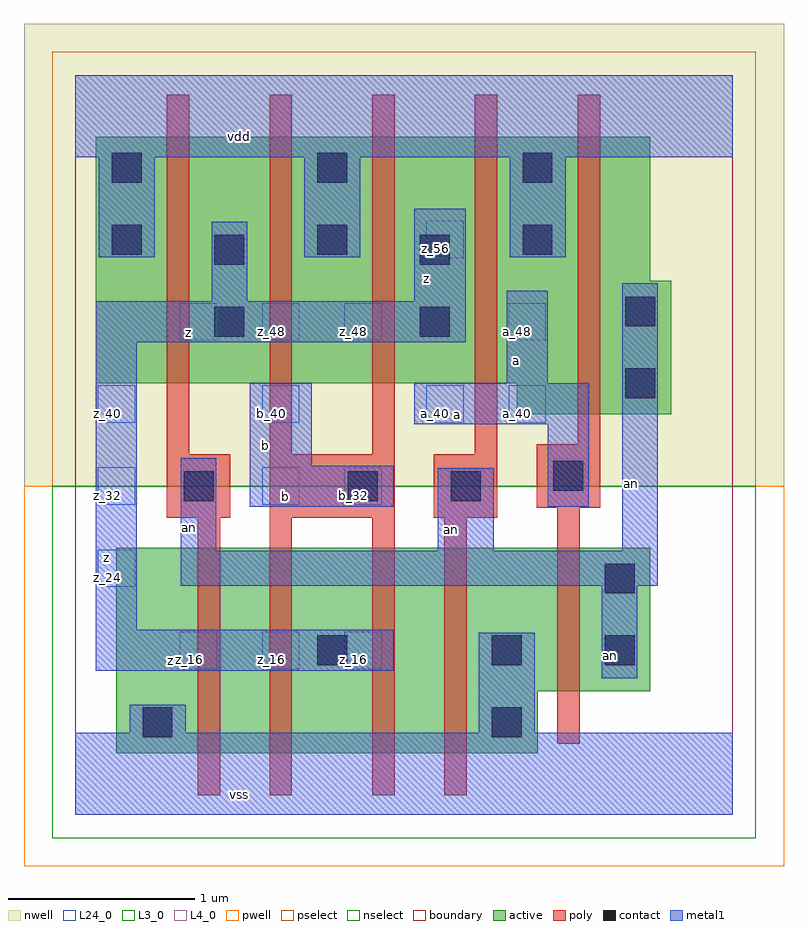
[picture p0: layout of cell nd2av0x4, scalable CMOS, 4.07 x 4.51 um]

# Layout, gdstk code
import gdstk
lib = gdstk.Library(unit=1e-6, precision=2.5e-09)
def R(c, l, rs):  # rectangles x0, y0, x1, y1
    for r in rs: c.add(gdstk.rectangle(r[:2], r[2:], *l))
def A(c, l, x, y, w, h, nx, ny, dx, dy):  # array of equal rectangles
    R(c, l, [(x+i*dx, y+j*dy, x+i*dx+w, y+j*dy+h) for i in range(nx) for j in range(ny)])
L3_0 = (3, 0)
L4_0 = (4, 0)
L24_0 = (24, 0)
contact = (25, 0)
pwell = (41, 0)
nwell = (42, 0)
active = (43, 0)
pselect = (44, 0)
nselect = (45, 0)
poly = (46, 0)
metal1 = (49, 0)
boundary = (63, 0)

nd2av0x4 = lib.new_cell('nd2av0x4')
R(nd2av0x4, L3_0, [(0.22,0.33,2.475,0.66), (0.22,0.66,3.08,1.43)])
R(nd2av0x4, L4_0, [(2.365,2.145,3.19,2.31), (0.11,2.31,3.19,2.86), (0.11,2.86,3.08,3.63)])
A(nd2av0x4, L24_0, 0.56, 0.78, 0.2, 0.2, 3, 2, 0.44, 1.76)
A(nd2av0x4, L24_0, 0.12, 2.1, 0.2, 0.2, 3, 1, 0.88, 0)
R(nd2av0x4, L24_0, [(0.12,1.22,0.32,1.42), (0.12,1.66,0.32,1.86), (1,1.66,1.2,1.86), (1.44,1.66,1.64,1.86), (2.32,2.1,2.52,2.3), (2.32,2.54,2.52,2.74), (1.88,2.98,2.08,3.18)])
A(nd2av0x4, contact, 0.195, 3, 0.16, 0.16, 3, 2, 1.1, 0.385)
R(nd2av0x4, contact, [(0.36,0.415,0.52,0.575), (2.23,0.415,2.39,0.575), (1.295,0.8,1.455,0.96), (2.23,0.8,2.39,0.96), (2.835,0.8,2.995,0.96), (2.835,1.185,2.995,1.345), (0.58,1.68,0.74,1.84), (1.46,1.68,1.62,1.84), (2.01,1.68,2.17,1.84), (2.56,1.735,2.72,1.895), (2.945,2.23,3.105,2.39), (0.745,2.56,0.905,2.72), (1.845,2.56,2.005,2.72), (2.945,2.615,3.105,2.775), (0.745,2.945,0.905,3.105), (1.845,2.945,2.005,3.105)])
R(nd2av0x4, pwell, [(-0.275,-0.275,3.795,1.76)])
R(nd2av0x4, nwell, [(-0.275,1.76,3.795,4.235)])
R(nd2av0x4, active, [(0.22,0.33,2.475,0.66), (0.22,0.66,3.08,1.43), (2.365,2.145,3.19,2.31), (0.11,2.31,3.19,2.86), (0.11,2.86,3.08,3.63)])
R(nd2av0x4, pselect, [(-0.125,1.76,3.645,4.085)])
R(nd2av0x4, nselect, [(-0.125,-0.125,3.645,1.76)])
A(nd2av0x4, poly, 0.49, 1.93, 0.12, 1.925, 4, 1, 0.55, 0)
R(nd2av0x4, poly, [(0.655,0.105,0.775,1.59), (1.04,0.105,1.16,1.59), (1.59,0.105,1.71,1.59), (1.975,0.105,2.095,1.59), (2.58,0.38,2.7,1.645), (0.49,1.59,0.83,1.93), (1.04,1.59,1.71,1.93), (1.92,1.59,2.26,1.93), (2.47,1.645,2.81,1.985), (2.69,1.985,2.81,3.855)])
A(nd2av0x4, metal1, 0.125, 2.985, 0.3, 0.535, 3, 1, 1.1, 0)
R(nd2av0x4, metal1, [(0,0,3.52,0.44), (0.29,0.44,0.59,0.59), (2.16,0.44,2.46,0.975), (2.82,0.73,3.01,1.225), (0.11,0.77,1.705,0.99), (0.11,0.99,0.33,2.53), (0.565,1.225,3.12,1.415), (0.565,1.415,0.755,1.91), (1.94,1.415,2.24,1.855), (2.93,1.415,3.12,2.845), (0.935,1.65,1.705,1.87), (2.53,1.65,2.75,2.09), (0.935,1.87,1.265,2.31), (1.815,2.09,2.75,2.31), (2.31,2.31,2.53,2.805), (0.11,2.53,2.09,2.75), (0.73,2.75,0.92,3.175), (1.815,2.75,2.09,3.245), (0,3.52,3.52,3.96)])
R(nd2av0x4, boundary, [(0,0,3.52,3.96)])
nd2av0x4.add(gdstk.Label('vss', (0.88,0.11), layer=49, texttype=0))
nd2av0x4.add(gdstk.Label('an', (2.8675,0.8525), layer=49, texttype=0))
nd2av0x4.add(gdstk.Label('z', (0.5075,0.825), layer=49, texttype=0))
nd2av0x4.add(gdstk.Label('an', (2.9775,1.7725), layer=49, texttype=0))
nd2av0x4.add(gdstk.Label('an', (2.015,1.525), layer=49, texttype=0))
nd2av0x4.add(gdstk.Label('b', (1.1275,1.705), layer=49, texttype=0))
nd2av0x4.add(gdstk.Label('a', (2.0475,2.145), layer=49, texttype=0))
nd2av0x4.add(gdstk.Label('b', (1.0175,1.98), layer=49, texttype=0))
nd2av0x4.add(gdstk.Label('an', (0.6125,1.5375), layer=49, texttype=0))
nd2av0x4.add(gdstk.Label('a', (2.365,2.4325), layer=49, texttype=0))
nd2av0x4.add(gdstk.Label('z', (0.165,1.375), layer=49, texttype=0))
nd2av0x4.add(gdstk.Label('z', (0.605,2.585), layer=49, texttype=0))
nd2av0x4.add(gdstk.Label('z', (1.8825,2.8725), layer=49, texttype=0))
nd2av0x4.add(gdstk.Label('vdd', (0.88,3.63), layer=49, texttype=0))
nd2av0x4.add(gdstk.Label('z_16', (0.61,0.83), layer=24, texttype=0))
nd2av0x4.add(gdstk.Label('z_48', (0.61,2.59), layer=24, texttype=0))
nd2av0x4.add(gdstk.Label('z_16', (1.05,0.83), layer=24, texttype=0))
nd2av0x4.add(gdstk.Label('b_32', (1.05,1.71), layer=24, texttype=0))
nd2av0x4.add(gdstk.Label('b_40', (1.05,2.15), layer=24, texttype=0))
nd2av0x4.add(gdstk.Label('z_48', (1.05,2.59), layer=24, texttype=0))
nd2av0x4.add(gdstk.Label('z_16', (1.49,0.83), layer=24, texttype=0))
nd2av0x4.add(gdstk.Label('b_32', (1.49,1.71), layer=24, texttype=0))
nd2av0x4.add(gdstk.Label('z_48', (1.49,2.59), layer=24, texttype=0))
nd2av0x4.add(gdstk.Label('a_40', (1.93,2.15), layer=24, texttype=0))
nd2av0x4.add(gdstk.Label('z_56', (1.93,3.03), layer=24, texttype=0))
nd2av0x4.add(gdstk.Label('z_24', (0.17,1.27), layer=24, texttype=0))
nd2av0x4.add(gdstk.Label('z_32', (0.17,1.71), layer=24, texttype=0))
nd2av0x4.add(gdstk.Label('z_40', (0.17,2.15), layer=24, texttype=0))
nd2av0x4.add(gdstk.Label('a_40', (2.37,2.15), layer=24, texttype=0))
nd2av0x4.add(gdstk.Label('a_48', (2.37,2.59), layer=24, texttype=0))

lib.write_gds('nd2av0x4.gds')
